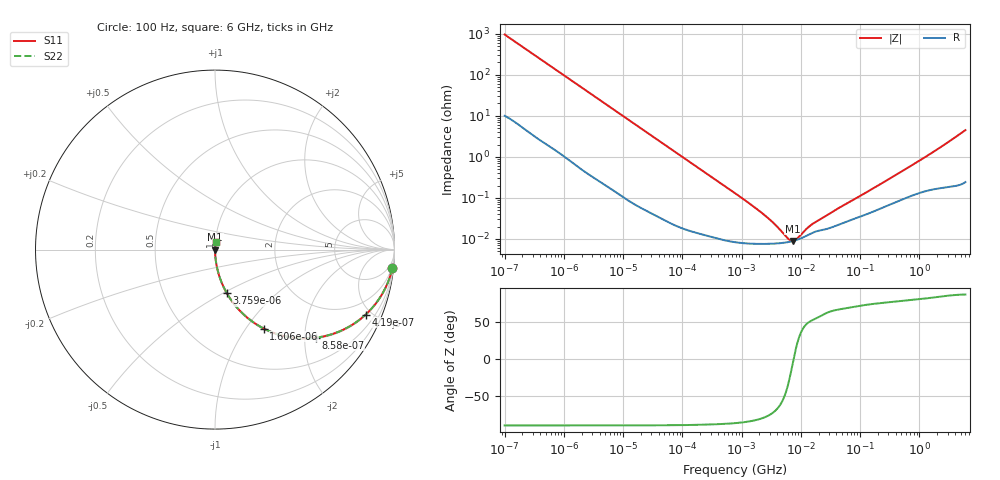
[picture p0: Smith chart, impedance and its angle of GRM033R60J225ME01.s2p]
!Murata Part Number: GRM033R60J225ME01
!These Parameters are Measured in Series Mode Connection
!Data Generated on Mar 30, 2021
!  o--ll--o
!Port1  Port2
!  o------o
!Operation Temp=25[degC], DC Bias Voltage=0[V]
!Freq. Start=100[Hz] Stop=6[GHz] 401[Steps]
# Hz S RI R 50
!Freq.(Hz) S11(Real) S11(Imag) S21(Real) S21(Imag) S12(Real) S12(Imag) S22(Real) S22(Imag)
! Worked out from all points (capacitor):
!   401 points, 100 Hz to 6 GHz, reference 50 ohm
!   read as one part in series: C = 1.66 uF near 109 Hz
!   lowest |Z| = 8.93 mohm at 7.267 MHz (marker M1)
!   series resonance near 7.558 MHz, so ESL is about 270 pH
!   S11 on the Smith chart (normalised r, x): 100 Hz: 1, -19; 419 Hz: 1.05, -4.62; 858 Hz: 1.02, -2.27; 1.606 kHz: 1.01, -1.22; 3.759 kHz: 1.01, -0.52; 6 GHz: 1.00, +0.09
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100  0.9881 -0.1031  0.0119 0.1031  0.0119 0.1031  0.9881 -0.1031
224  0.9467 -0.2194  0.0533 0.2194  0.0533 0.2194  0.9467 -0.2194
419  0.8394 -0.3619  0.1606 0.3619  0.1606 0.3619  0.8394 -0.3619
600  0.7214 -0.443  0.2786 0.443  0.2786 0.443  0.7214 -0.443
858  0.5617 -0.4909  0.4383 0.4909  0.4383 0.4909  0.5617 -0.4909
1174  0.4091 -0.4864  0.5909 0.4864  0.5909 0.4864  0.4091 -0.4864
1606  0.2721 -0.44  0.7279 0.44  0.7279 0.44  0.2721 -0.44
2008  0.194 -0.3905  0.806 0.3905  0.806 0.3905  0.194 -0.3905
3759  0.066 -0.2432  0.934 0.2432  0.934 0.2432  0.066 -0.2432
10527  0.0097 -0.0928  0.9903 0.0928  0.9903 0.0928  0.0097 -0.0928
40335  0.000945 -0.0247  0.9991 0.0247  0.9991 0.0247  0.000945 -0.0247
774597  8.51e-05 -0.0013  0.9999 0.0013  0.9999 0.0013  8.51e-05 -0.0013
2713602  7.61e-05 -0.000327  0.9999 0.000327  0.9999 0.000327  7.61e-05 -0.000327
3882480  7.78e-05 -0.000193  0.9999 0.000193  0.9999 0.000193  7.78e-05 -0.000193
5809218  8.3e-05 -7.11e-05  0.9999 7.11e-05  0.9999 7.11e-05  8.3e-05 -7.11e-05
6353432  8.5e-05 -4.64e-05  0.9999 4.64e-05  0.9999 4.64e-05  8.5e-05 -4.64e-05
7266822  8.87e-05 -1.04e-05  0.9999 1.04e-05  0.9999 1.04e-05  8.87e-05 -1.04e-05
9090158  9.79e-05 4.84e-05  0.9999 -4.84e-05  0.9999 -4.84e-05  9.79e-05 4.84e-05
1.555665e7  0.000141 0.000181  0.9999 -0.000181  0.9999 -0.000181  0.000141 0.000181
3.124326e8  0.000686 0.00284  0.9993 -0.00284  0.9993 -0.00284  0.000686 0.00284
1.497423e9  0.00168 0.0114  0.9983 -0.0114  0.9983 -0.0114  0.00168 0.0114
6e9  0.00442 0.0445  0.9956 -0.0445  0.9956 -0.0445  0.00442 0.0445
